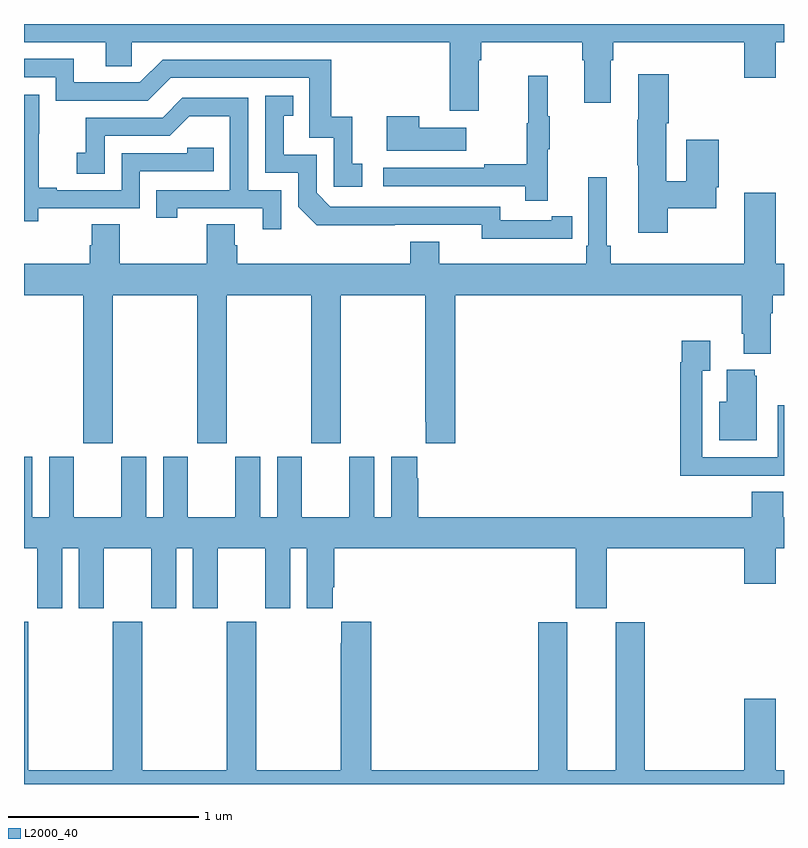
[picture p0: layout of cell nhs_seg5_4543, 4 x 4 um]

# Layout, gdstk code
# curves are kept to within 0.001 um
import gdstk
lib = gdstk.Library(unit=1e-6, precision=1e-09)
def P(c, l, *ps):  # polygons
    for p in ps: c.add(gdstk.Polygon(p, *l))
L2000_40 = (2000, 40)

nhs_seg5_4543 = lib.new_cell('nhs_seg5_4543')
P(nhs_seg5_4543, L2000_40, [(379.393,912.608),(379.406,912.608),(379.406,912.704),(379.937,912.704),(379.937,912.608),(379.949,912.608),(379.949,912.384),(380.089,912.384),(380.089,912.608),(380.102,912.608),(380.102,912.704),(380.792,912.704),(380.792,912.516),(380.956,912.516),(380.956,912.704),(381,912.704),(381,912.799),(377,912.799),(377,912.704),(377.429,912.704),(377.429,912.577),(377.568,912.577),(377.568,912.704),(379.241,912.704),(379.241,912.342),(379.393,912.342)],
  [(378.781,912.063),(378.728,912.063),(378.728,912.31),(378.617,912.31),(378.617,912.612),(377.73,912.612),(377.61,912.492),(377.263,912.492),(377.263,912.615),(377,912.615),(377,912.519),(377.166,912.519),(377.166,912.396),(377.652,912.396),(377.772,912.516),(378.501,912.516),(378.501,912.201),(378.63,912.201),(378.63,911.943),(378.781,911.943)],
  [(380.388,911.83),(380.644,911.83),(380.644,911.941),(380.657,911.941),(380.657,912.19),(380.486,912.19),(380.486,911.972),(380.38,911.972),(380.38,912.277),(380.393,912.277),(380.393,912.535),(380.234,912.535),(380.234,912.296),(380.227,912.296),(380.227,912.055),(380.234,912.055),(380.234,911.7),(380.388,911.7)],
  [(379.757,912.139),(379.768,912.139),(379.768,912.313),(379.757,912.313),(379.757,912.526),(379.654,912.526),(379.654,912.276),(379.647,912.276),(379.647,912.062),(379.423,912.062),(379.423,912.042),(378.891,912.042),(378.891,911.946),(379.639,911.946),(379.639,911.868),(379.757,911.868)],
  [(377.076,911.829),(377.61,911.829),(377.61,912.024),(377.999,912.024),(377.999,912.147),(377.859,912.147),(377.859,912.12),(377.514,912.12),(377.514,911.925),(377.173,911.925),(377.173,911.938),(377.078,911.938),(377.078,912.221),(377.079,912.221),(377.079,912.427),(377,912.427),(377,911.761),(377.076,911.761)],
  [(379.778,911.67),(379.886,911.67),(379.886,911.786),(379.778,911.786),(379.778,911.766),(379.506,911.766),(379.506,911.838),(378.612,911.838),(378.54,911.91),(378.54,912.111),(378.367,912.111),(378.367,912.315),(378.416,912.315),(378.416,912.421),(378.27,912.421),(378.27,912.015),(378.444,912.015),(378.444,911.838),(378.542,911.741),(379.41,911.742),(379.41,911.669)],
  [(378.354,911.925),(378.18,911.925),(378.18,912.411),(377.834,912.411),(377.729,912.306),(377.326,912.306),(377.326,912.121),(377.277,912.121),(377.277,912.012),(377.424,912.012),(377.424,912.21),(377.766,912.21),(377.87,912.314),(378.084,912.314),(378.084,911.925),(377.695,911.925),(377.695,911.778),(377.806,911.778),(377.806,911.829),(378.257,911.829),(378.257,911.718),(378.354,911.718)],
  [(379.327,912.253),(379.079,912.253),(379.079,912.313),(378.908,912.313),(378.908,912.131),(379.327,912.131)],
  [(380.087,911.632),(380.068,911.632),(380.068,911.992),(379.971,911.992),(379.971,911.632),(379.958,911.632),(379.958,911.536),(379.186,911.536),(379.186,911.653),(379.034,911.653),(379.034,911.536),(378.122,911.536),(378.122,911.634),(378.109,911.634),(378.109,911.744),(377.962,911.744),(377.962,911.536),(377.505,911.536),(377.505,911.744),(377.357,911.744),(377.357,911.634),(377.345,911.634),(377.345,911.536),(377,911.536),(377,911.372),(377.311,911.372),(377.311,910.593),(377.466,910.593),(377.466,911.372),(377.911,911.372),(377.911,910.593),(378.066,910.593),(378.066,911.372),(378.511,911.372),(378.511,910.593),(378.666,910.593),(378.666,911.372),(379.111,911.372),(379.111,910.705),(379.115,910.705),(379.115,910.593),(379.271,910.593),(379.271,911.372),(380.777,911.372),(380.777,911.17),(380.789,911.17),(380.789,911.063),(380.929,911.063),(380.929,911.276),(380.942,911.276),(380.942,911.372),(381,911.372),(381,911.536),(380.956,911.536),(380.956,911.911),(380.792,911.911),(380.792,911.536),(380.087,911.536)],
  [(380.747,910.422),(381,910.422),(381,910.792),(380.967,910.792),(380.967,910.518),(380.571,910.518),(380.571,910.975),(380.611,910.975),(380.611,911.131),(380.463,911.131),(380.463,911.018),(380.455,911.018),(380.455,910.421),(380.747,910.421)],
  [(380.857,910.947),(380.846,910.947),(380.846,910.978),(380.699,910.978),(380.699,910.81),(380.66,910.81),(380.66,910.607),(380.857,910.607)],
  [(377.2,910.04),(377.288,910.04),(377.288,909.723),(377.419,909.723),(377.419,910.04),(377.669,910.04),(377.669,909.723),(377.8,909.723),(377.8,910.04),(377.888,910.04),(377.888,909.723),(378.019,909.723),(378.019,910.04),(378.269,910.04),(378.269,909.723),(378.4,909.723),(378.4,910.04),(378.488,910.04),(378.488,909.723),(378.625,909.723),(378.625,909.835),(378.632,909.835),(378.632,910.04),(379.904,910.04),(379.904,909.723),(380.068,909.723),(380.068,910.04),(380.792,910.04),(380.792,909.852),(380.956,909.852),(380.956,910.04),(381,910.04),(381,910.204),(380.996,910.204),(380.996,910.337),(380.831,910.337),(380.831,910.204),(379.076,910.204),(379.076,910.409),(379.069,910.409),(379.069,910.522),(378.932,910.522),(378.932,910.204),(378.844,910.204),(378.844,910.522),(378.713,910.522),(378.713,910.204),(378.463,910.204),(378.463,910.522),(378.332,910.522),(378.332,910.204),(378.244,910.204),(378.244,910.522),(378.113,910.522),(378.113,910.204),(377.863,910.204),(377.863,910.522),(377.732,910.522),(377.732,910.204),(377.644,910.204),(377.644,910.522),(377.513,910.522),(377.513,910.204),(377.263,910.204),(377.263,910.522),(377.132,910.522),(377.132,910.204),(377.044,910.204),(377.044,910.522),(377,910.522),(377,910.04),(377.069,910.04),(377.069,909.723),(377.2,909.723)],
  [(381,908.872),(380.956,908.872),(380.956,909.247),(380.792,909.247),(380.792,908.872),(380.267,908.872),(380.267,909.651),(380.114,909.651),(380.114,908.872),(379.858,908.872),(379.858,909.651),(379.706,909.651),(379.706,908.872),(378.827,908.872),(378.827,909.652),(378.671,909.652),(378.671,909.539),(378.667,909.539),(378.667,908.872),(378.222,908.872),(378.222,909.652),(378.067,909.652),(378.067,908.872),(377.622,908.872),(377.622,909.652),(377.467,909.652),(377.467,908.872),(377.022,908.872),(377.022,909.652),(377,909.652),(377,908.799),(381,908.799)])

lib.write_gds('nhs_seg5_4543.gds')
